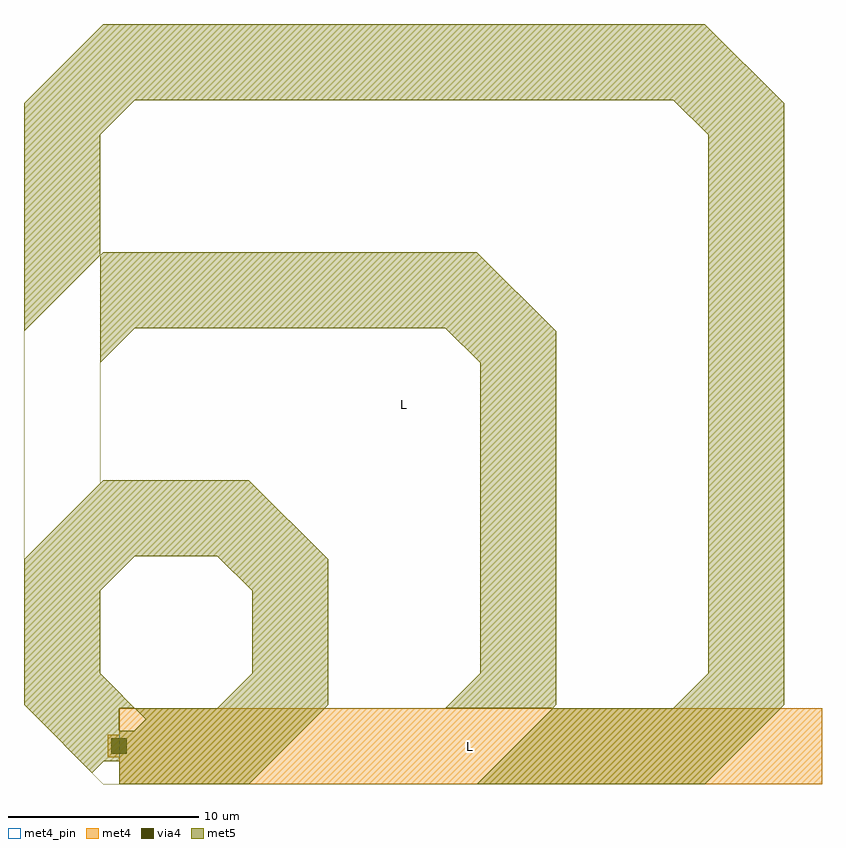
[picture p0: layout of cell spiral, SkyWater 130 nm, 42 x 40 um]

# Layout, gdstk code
import gdstk
lib = gdstk.Library(unit=1e-6, precision=1e-09)
def R(c, l, rs):  # rectangles x0, y0, x1, y1
    for r in rs: c.add(gdstk.rectangle(r[:2], r[2:], *l))
def P(c, l, *ps):  # polygons
    for p in ps: c.add(gdstk.Polygon(p, *l))
met4_pin = (71, 16)
met4 = (71, 20)
via4 = (71, 44)
met5 = (72, 20)

spiral = lib.new_cell('spiral')
R(spiral, met4_pin, [(0,-2,37,2)])
R(spiral, met4, [(0,-2,37,2), (-0.59,-0.59,0.59,0.59)])
R(spiral, via4, [(-0.4,-0.4,0.4,0.4)])
R(spiral, met5, [(-1.25,-0.8,1.25,0.8)])
P(spiral, met5, [(-0.83,-2),(-5,2.17),(-5,21.83),(-0.83,26),(18.83,26),(23,21.83),(23,2.17),(18.83,-2),(-0.83,-2),(-5,2.17),(-5,9.83),(-0.83,14),(6.83,14),(11,9.83),(11,2.17),(6.83,-2),(0,-2),(0,2),(5.17,2),(7,3.83),(7,8.17),(5.17,10),(0.83,10),(-1,8.17),(-1,3.83),(0.83,2),(17.17,2),(19,3.83),(19,20.17),(17.17,22),(0.83,22),(-1,20.17),(-1,3.83),(0.83,2),(29.17,2),(31,3.83),(31,32.17),(29.17,34),(0.83,34),(-1,32.17),(-1,3.83),(1.415,1.415),(-1.415,-1.415),(-5,2.17),(-5,33.83),(-0.83,38),(30.83,38),(35,33.83),(35,2.17),(30.83,-2)])
spiral.add(gdstk.Label('L', (18.5,0), layer=71, texttype=16))
spiral.add(gdstk.Label('L', (18.5,0), layer=71, texttype=5))
spiral.add(gdstk.Label('L', (15,18), layer=72, texttype=5))

lib.write_gds('spiral.gds')
